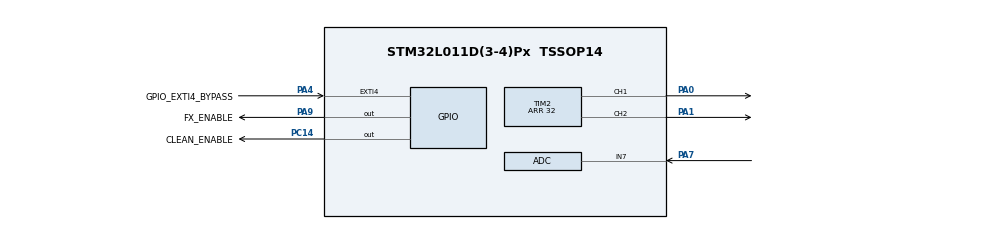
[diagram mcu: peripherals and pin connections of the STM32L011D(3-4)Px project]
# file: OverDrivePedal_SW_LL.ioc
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ADC.ContinuousConvMode=DISABLE
ADC.DMAContinuousRequests=DISABLE
ADC.Overrun=ADC_OVR_DATA_OVERWRITTEN
LPTIM1.ClockPrescaler=LPTIM_PRESCALER_DIV128
Mcu.Family=STM32L0
Mcu.Name=STM32L011D(3-4)Px
Mcu.Package=TSSOP14
NVIC.EXTI4_15_IRQn=true\:0\:0\:false\:false\:true\:true\:true
NVIC.LPTIM1_IRQn=true\:0\:0\:false\:false\:true\:true\:true
NVIC.TIM21_IRQn=true\:0\:0\:false\:false\:true\:true\:true
PA0-CK_IN.Signal=S_TIM2_CH1
PA1.Signal=S_TIM2_CH2
PA13.Mode=Serial_Wire
PA13.Signal=SYS_SWDIO
PA14.Mode=Serial_Wire
PA14.Signal=SYS_SWCLK
PA4.GPIO_Label=GPIO_EXTI4_BYPASS
PA4.GPIO_ModeDefaultEXTI=GPIO_MODE_IT_FALLING
PA4.GPIO_PuPd=GPIO_PULLUP
PA4.Signal=GPXTI4
PA7.Mode=IN7
PA7.Signal=ADC_IN7
PA9.GPIO_Label=FX_ENABLE
PA9.GPIO_PuPd=GPIO_PULLUP
PA9.Signal=GPIO_Output
PC14-OSC32_IN.GPIO_Label=CLEAN_ENABLE
PC14-OSC32_IN.GPIO_PuPd=GPIO_PULLUP
PC14-OSC32_IN.Signal=GPIO_Output
ProjectManager.HeapSize=0x200
ProjectManager.StackSize=0x400
ProjectManager.TargetToolchain=STM32CubeIDE
RCC.AHBFreq_Value=32000000
RCC.APB1Freq_Value=32000000
RCC.APB1TimFreq_Value=32000000
RCC.APB2Freq_Value=32000000
RCC.APB2TimFreq_Value=32000000
RCC.HCLKFreq_Value=32000000
RCC.HSE_VALUE=8000000
RCC.HSI16_VALUE=16000000
RCC.HSI_VALUE=16000000
RCC.LSE_VALUE=32768
RCC.MSI_VALUE=2097000
RCC.PLLMUL=RCC_PLLMUL_4
RCC.SYSCLKFreq_VALUE=32000000
RCC.SYSCLKSource=RCC_SYSCLKSOURCE_PLLCLK
RCC.VCOOutputFreq_Value=64000000
SH.S_TIM2_CH1.0=TIM2_CH1,PWM Generation1 CH1
SH.S_TIM2_CH2.0=TIM2_CH2,PWM Generation2 CH2
TIM2.Channel-PWM\ Generation1\ CH1=TIM_CHANNEL_1
TIM2.Channel-PWM\ Generation2\ CH2=TIM_CHANNEL_2
TIM2.OC2Preload_PWM=DISABLE
TIM2.OCFastMode_PWM-PWM\ Generation1\ CH1=TIM_OCFAST_ENABLE
TIM2.OCFastMode_PWM-PWM\ Generation2\ CH2=TIM_OCFAST_ENABLE
TIM2.OCMode_PWM-PWM\ Generation1\ CH1=TIM_OCMODE_PWM2
TIM2.OCMode_PWM-PWM\ Generation2\ CH2=TIM_OCMODE_PWM2
TIM2.Period=32
TIM21.Period=65535
TIM21.Prescaler=65535
VP_LPTIM1_VS_LPTIM_counterModeInternalClock.Mode=Counts__internal_clock_event_00
VP_TIM21_VS_ClockSourceINT.Mode=Internal
board=custom

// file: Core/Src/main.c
/* USER CODE BEGIN Header */
/**
  ******************************************************************************
  * @file           : main.c
  * @brief          : Main program body
  ******************************************************************************
  * @attention
  *
  * <h2><center>&copy; Copyright (c) 2020 STMicroelectronics.
  * All rights reserved.</center></h2>
  *
  * This software component is licensed by ST under BSD 3-Clause license,
  * the "License"; You may not use this file except in compliance with the
  * License. You may obtain a copy of the License at:
  *                        opensource.org/licenses/BSD-3-Clause
  *
  ******************************************************************************
  */
/* USER CODE END Header */

#include "main.h"
#include "adc.h"
#include "lptim.h"
#include "tim.h"
#include "gpio.h"

/* USER CODE BEGIN Includes */
#include "ledprograms.h"
/* USER CODE END Includes */

/* USER CODE BEGIN PV */
uint32_t adc_input[1] = {};
/* USER CODE END PV */

void SystemClock_Config(void);

int main(void)
{

  /* MCU Configuration--------------------------------------------------------*/

  /* Reset of all peripherals, Initializes the Flash interface and the Systick. */

  LL_APB2_GRP1_EnableClock(LL_APB2_GRP1_PERIPH_SYSCFG);
  LL_APB1_GRP1_EnableClock(LL_APB1_GRP1_PERIPH_PWR);

  /* System interrupt init*/

  /* Configure the system clock */
  SystemClock_Config();

  /* Initialize all configured peripherals */
  MX_GPIO_Init();
  MX_TIM2_Init();
  MX_LPTIM1_Init();
  MX_TIM21_Init();
  MX_ADC_Init();
  /* USER CODE BEGIN 2 */

  LL_TIM_OC_SetMode(TIM2, LL_TIM_CHANNEL_CH1, LL_TIM_OCMODE_PWM1);
  LL_TIM_CC_EnableChannel(TIM2, LL_TIM_CHANNEL_CH1);

  LL_TIM_OC_SetMode(TIM2, LL_TIM_CHANNEL_CH2, LL_TIM_OCMODE_PWM1);
  LL_TIM_CC_EnableChannel(TIM2, LL_TIM_CHANNEL_CH2);

  LL_TIM_EnableCounter(TIM2);
  TIM2->PSC = 0;

  /* PWM Freq must be set using one of the ARR values:
   *
   * 	135		240KHz
   * 	270		120KHz
   * 	405		80KHz
   * 	540		60KHz
   * 	675		48KHz
   */

  TIM2->ARR = 540;
  // init the PWM duty to 0%
  TIM2->CCR1 = 0;
  TIM2->CCR2 = 0;

  // init bypass soft switches
  // clean routing enabled, fx routing disabled
  CLEAN_ENABLE_GPIO_Port->ODR |= (CLEAN_ENABLE_Pin);
  FX_ENABLE_GPIO_Port->ODR &= ~(FX_ENABLE_Pin);

  // debounce timer
  //LL_TIM_EnableIT_UPDATE(TIM21);
  LL_TIM_EnableCounter(TIM21);
  TIM21->PSC = 65535;
  TIM21->ARR = 65535;
  //HAL_TIM_Base_Start_IT(&htim21);

  LL_ADC_EnableInternalRegulator(ADC1);
  LL_ADC_StartCalibration(ADC1);
  LL_ADC_Enable(ADC1);

  /* USER CODE END 2 */
  uint32_t adc_data = 0;
  /* Infinite loop */
  /* USER CODE BEGIN WHILE */
  while (1)
  {
	  if(LL_ADC_REG_IsConversionOngoing(ADC1) == 0)
	  {
		  LL_ADC_REG_StartConversion(ADC1);
		  if(LL_ADC_IsActiveFlag_EOC(ADC1))
		  {
			  adc_data = LL_ADC_REG_ReadConversionData32(ADC1);
			  if(adc_data < 200)
				  adc_data = 200;
		  }
	  }

	  if(FX_ENABLE_GPIO_Port->ODR)
	  {
		  LL_mDelay(adc_data/10);
		  //ledprogram_contfade();
		  ledprogram_symcontfade();
		  //ledprogram_stepfade();
	  }

    /* USER CODE END WHILE */

  }
}

void SystemClock_Config(void)
{
  LL_FLASH_SetLatency(LL_FLASH_LATENCY_1);

  if(LL_FLASH_GetLatency() != LL_FLASH_LATENCY_1)
  {
  Error_Handler();
  }
  LL_PWR_SetRegulVoltageScaling(LL_PWR_REGU_VOLTAGE_SCALE1);
  LL_RCC_HSI_Enable();

   /* Wait till HSI is ready */
  while(LL_RCC_HSI_IsReady() != 1)
  {

  }
  LL_RCC_HSI_SetCalibTrimming(16);
  LL_RCC_PLL_ConfigDomain_SYS(LL_RCC_PLLSOURCE_HSI, LL_RCC_PLL_MUL_4, LL_RCC_PLL_DIV_2);
  LL_RCC_PLL_Enable();

   /* Wait till PLL is ready */
  while(LL_RCC_PLL_IsReady() != 1)
  {

  }
  LL_RCC_SetAHBPrescaler(LL_RCC_SYSCLK_DIV_1);
  LL_RCC_SetAPB1Prescaler(LL_RCC_APB1_DIV_1);
  LL_RCC_SetAPB2Prescaler(LL_RCC_APB2_DIV_1);
  LL_RCC_SetSysClkSource(LL_RCC_SYS_CLKSOURCE_PLL);

   /* Wait till System clock is ready */
  while(LL_RCC_GetSysClkSource() != LL_RCC_SYS_CLKSOURCE_STATUS_PLL)
  {

  }

  LL_Init1msTick(32000000);

  LL_SetSystemCoreClock(32000000);
  LL_RCC_SetLPTIMClockSource(LL_RCC_LPTIM1_CLKSOURCE_PCLK1);
}

void Error_Handler(void)
{
}

/************************ (C) COPYRIGHT STMicroelectronics *****END OF FILE****/
